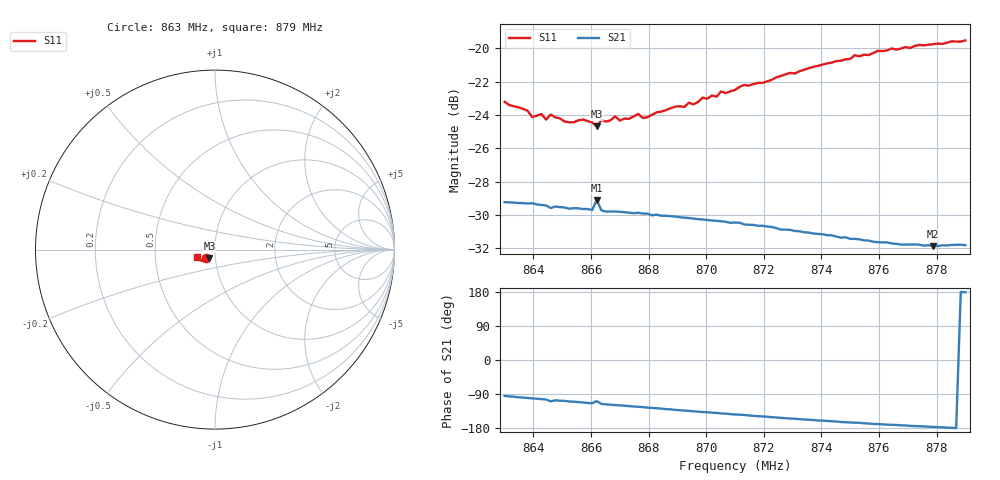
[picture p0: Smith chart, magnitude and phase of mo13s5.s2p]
# HZ S RI R 50
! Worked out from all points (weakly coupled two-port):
!   101 points, 863 MHz to 879 MHz, reference 50 ohm
!   highest |S21| = -29.10 dB at 866.2 MHz (marker M1); lowest = -31.9 dB at 877.88 MHz (marker M2)
!   lowest |S11| = -24.7 dB at 866.2 MHz (marker M3), VSWR 1.12, Z = 46.8 - j4.63 ohm
!   |S11| at or under -10 dB: start of sweep to end of sweep
!   S12 and S22 are empty: the file has one direction only
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8.63e8  -0.0516 -0.0461  -0.00281 -0.0345  0 0  0 0
8.638e8  -0.0477 -0.0442  -0.00604 -0.0337  0 0  0 0
8.6396e8  -0.0443 -0.0437  -0.00672 -0.0337  0 0  0 0
8.6428e8  -0.0447 -0.0451  -0.00776 -0.033  0 0  0 0
8.6444e8  -0.0431 -0.0434  -0.00831 -0.0328  0 0  0 0
8.646e8  -0.0442 -0.0453  -0.0109 -0.0313  0 0  0 0
8.6524e8  -0.0407 -0.0441  -0.011 -0.0312  0 0  0 0
8.6572e8  -0.0396 -0.0466  -0.0124 -0.0306  0 0  0 0
8.6604e8  -0.038 -0.0463  -0.0134 -0.0299  0 0  0 0
8.662e8  -0.031 -0.0494  -0.0111 -0.0333  0 0  0 0
8.6636e8  -0.0392 -0.0468  -0.0142 -0.0294  0 0  0 0
8.6652e8  -0.0369 -0.0477  -0.0148 -0.0288  0 0  0 0
8.6684e8  -0.0387 -0.0491  -0.0157 -0.0284  0 0  0 0
8.67e8  -0.0362 -0.0487  -0.0161 -0.0281  0 0  0 0
8.6844e8  -0.0364 -0.0533  -0.0195 -0.0247  0 0  0 0
8.7036e8  -0.0405 -0.0591  -0.0231 -0.0197  0 0  0 0
8.7052e8  -0.0422 -0.0612  -0.0236 -0.0191  0 0  0 0
8.71e8  -0.0432 -0.0613  -0.0243 -0.0177  0 0  0 0
8.7372e8  -0.0586 -0.0656  -0.0259 -0.0103  0 0  0 0
8.7644e8  -0.0817 -0.0575  -0.0257 -0.00403  0 0  0 0
8.7788e8  -0.0915 -0.0469  -0.0255 -0.00153  0 0  0 0
8.79e8  -0.0981 -0.039  -0.0257 0.000432  0 0  0 0
